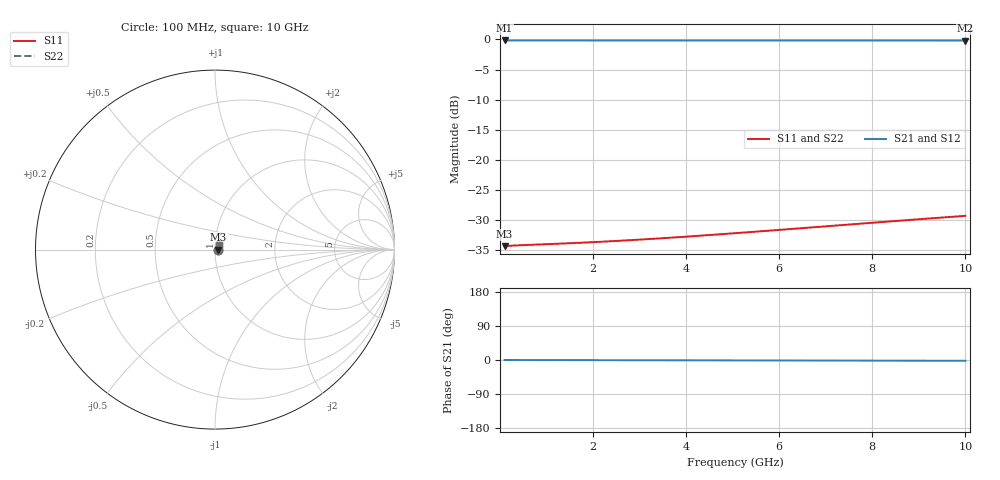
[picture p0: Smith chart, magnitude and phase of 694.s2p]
# Hz S RI R 50.00
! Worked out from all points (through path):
!   100 points, 100 MHz to 10 GHz, reference 50 ohm
!   highest |S21| = -0.17 dB at 100 MHz (marker M1); lowest = -0.2 dB at 10 GHz (marker M2)
!   lowest |S11| = -34.4 dB at 100 MHz (marker M3), VSWR 1.04, Z = 51.9 + j0.0278 ohm
!   |S11| at or under -10 dB: start of sweep to end of sweep
!   |S22| runs from -34.4 to -29.3 dB; largest |S21 - S12| = 0
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1e8  0.0191 0.000267  0.9809 -0.000357  0.9809 -0.000357  0.0191 0.000267
2e8  0.0192 0.000535  0.9808 -0.000713  0.9808 -0.000713  0.0192 0.000535
3e8  0.0193 0.000802  0.9807 -0.00107  0.9807 -0.00107  0.0193 0.000802
4e8  0.0194 0.00107  0.9806 -0.00143  0.9806 -0.00143  0.0194 0.00107
6e8  0.0195 0.0016  0.9805 -0.00214  0.9805 -0.00214  0.0195 0.0016
1.3e9  0.0197 0.00347  0.9803 -0.00463  0.9803 -0.00463  0.0197 0.00347
1.6e9  0.0198 0.00427  0.9802 -0.0057  0.9802 -0.0057  0.0198 0.00427
1.8e9  0.0199 0.0048  0.9801 -0.00641  0.9801 -0.00641  0.0199 0.0048
2.2e9  0.02 0.00587  0.98 -0.00783  0.98 -0.00783  0.02 0.00587
2.6e9  0.02 0.00694  0.98 -0.00925  0.98 -0.00925  0.02 0.00694
3e9  0.0201 0.008  0.9799 -0.0107  0.9799 -0.0107  0.0201 0.008
3.4e9  0.0202 0.00907  0.9798 -0.0121  0.9798 -0.0121  0.0202 0.00907
3.8e9  0.0202 0.0101  0.9798 -0.0135  0.9798 -0.0135  0.0202 0.0101
4.2e9  0.0203 0.0112  0.9797 -0.0149  0.9797 -0.0149  0.0203 0.0112
4.6e9  0.0204 0.0123  0.9796 -0.0164  0.9796 -0.0164  0.0204 0.0123
5.1e9  0.0204 0.0136  0.9795 -0.0181  0.9795 -0.0181  0.0204 0.0136
5.8e9  0.0205 0.0155  0.9794 -0.0206  0.9794 -0.0206  0.0205 0.0155
6.7e9  0.0207 0.0179  0.9793 -0.0238  0.9793 -0.0238  0.0207 0.0179
7.7e9  0.0209 0.0205  0.9791 -0.0274  0.9791 -0.0274  0.0209 0.0205
8.4e9  0.021 0.0224  0.979 -0.0299  0.979 -0.0299  0.021 0.0224
9.2e9  0.0212 0.0245  0.9788 -0.0327  0.9788 -0.0327  0.0212 0.0245
1e10  0.0213 0.0266  0.9786 -0.0356  0.9786 -0.0356  0.0213 0.0266
